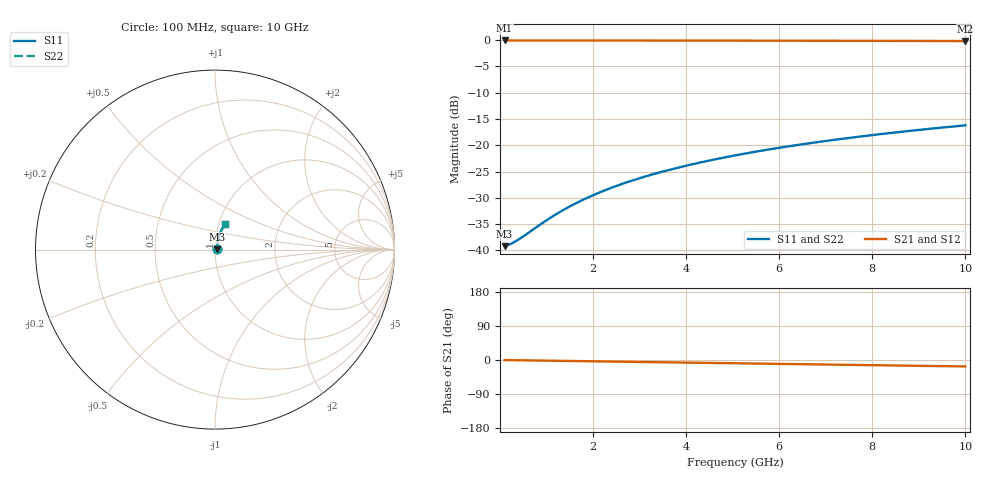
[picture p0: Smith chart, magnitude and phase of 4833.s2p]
# Hz S RI R 50.00
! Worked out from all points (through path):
!   100 points, 100 MHz to 10 GHz, reference 50 ohm
!   highest |S21| = -0.09 dB at 100 MHz (marker M1); lowest = -0.2 dB at 10 GHz (marker M2)
!   group delay of S21, straight-line fit = 4.73 ps
!   lowest |S11| = -39.2 dB at 100 MHz (marker M3), VSWR 1.02, Z = 51.1 + j0.158 ohm
!   |S11| at or under -10 dB: start of sweep to end of sweep
!   |S22| runs from -39.2 to -16.2 dB; largest |S21 - S12| = 0
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1e8  0.0109 0.00154  0.9891 -0.00296  0.9891 -0.00296  0.0109 0.00154
2e8  0.011 0.00309  0.989 -0.00593  0.989 -0.00593  0.011 0.00309
3e8  0.011 0.00463  0.989 -0.00889  0.989 -0.00889  0.011 0.00463
5e8  0.0112 0.00771  0.9888 -0.0148  0.9888 -0.0148  0.0112 0.00771
9e8  0.0116 0.0139  0.9884 -0.0267  0.9884 -0.0267  0.0116 0.0139
1.2e9  0.0119 0.0185  0.9879 -0.0355  0.9879 -0.0355  0.0119 0.0185
1.5e9  0.0123 0.0231  0.9874 -0.0444  0.9874 -0.0444  0.0123 0.0231
1.8e9  0.0128 0.0277  0.9868 -0.0532  0.9868 -0.0532  0.0128 0.0277
2.1e9  0.0134 0.0323  0.9861 -0.0621  0.9861 -0.0621  0.0134 0.0323
2.5e9  0.0143 0.0384  0.985 -0.0739  0.985 -0.0739  0.0143 0.0384
2.9e9  0.0154 0.0444  0.9838 -0.0856  0.9838 -0.0856  0.0154 0.0444
3.4e9  0.0169 0.052  0.9819 -0.1003  0.9819 -0.1003  0.0169 0.052
3.8e9  0.0182 0.058  0.9803 -0.1119  0.9803 -0.1119  0.0182 0.058
4.2e9  0.0197 0.0639  0.9784 -0.1236  0.9784 -0.1236  0.0197 0.0639
4.6e9  0.0213 0.0699  0.9764 -0.1352  0.9764 -0.1352  0.0213 0.0699
5.1e9  0.0236 0.0772  0.9737 -0.1496  0.9737 -0.1496  0.0236 0.0772
5.9e9  0.0276 0.0887  0.9688 -0.1725  0.9688 -0.1725  0.0276 0.0887
6.7e9  0.0322 0.1001  0.9632 -0.1952  0.9632 -0.1952  0.0322 0.1001
7.5e9  0.0373 0.1111  0.9569 -0.2177  0.9569 -0.2177  0.0373 0.1111
8.4e9  0.0436 0.1232  0.9491 -0.2426  0.9491 -0.2426  0.0436 0.1232
9.2e9  0.0497 0.1337  0.9415 -0.2644  0.9415 -0.2644  0.0497 0.1337
1e10  0.0563 0.1438  0.9334 -0.2859  0.9334 -0.2859  0.0563 0.1438
